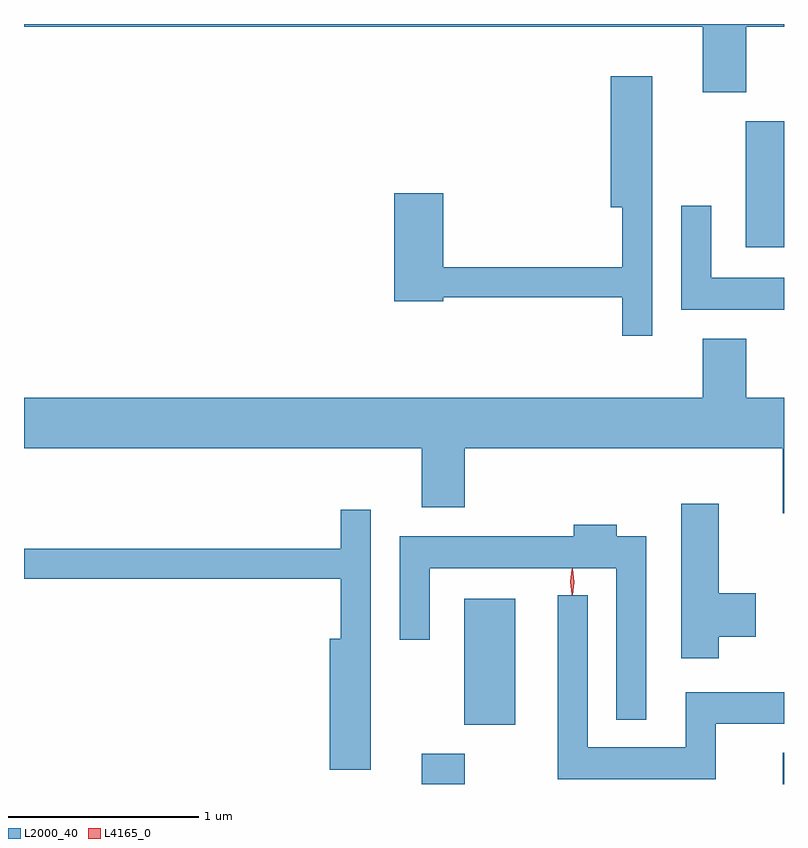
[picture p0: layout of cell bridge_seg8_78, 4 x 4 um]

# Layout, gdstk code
import gdstk
lib = gdstk.Library(unit=1e-6, precision=1e-09)
def R(c, l, rs):  # rectangles x0, y0, x1, y1
    for r in rs: c.add(gdstk.rectangle(r[:2], r[2:], *l))
def P(c, l, *ps):  # polygons
    for p in ps: c.add(gdstk.Polygon(p, *l))
L2000_40 = (2000, 40)
L4165_0 = (4165, 0)

bridge_seg8_78 = lib.new_cell('bridge_seg8_78')
R(bridge_seg8_78, L2000_40, [(1623.631,1812.45,1623.859,1812.609), (1625.531,1812.45,1625.538,1812.614), (1623.856,1812.761,1624.124,1813.424), (1625.336,1815.276,1625.538,1815.939)])
P(bridge_seg8_78, L2000_40, [(1625.339,1816.436),(1625.538,1816.436),(1625.538,1816.45),(1621.538,1816.45),(1621.538,1816.436),(1625.111,1816.436),(1625.111,1816.091),(1625.339,1816.091)],
  [(1624.844,1816.174),(1624.626,1816.174),(1624.626,1815.486),(1624.686,1815.486),(1624.686,1815.169),(1623.744,1815.169),(1623.744,1815.559),(1623.486,1815.559),(1623.486,1814.991),(1623.744,1814.991),(1623.744,1815.011),(1624.686,1815.011),(1624.686,1814.808),(1624.844,1814.808)],
  [(1625.538,1815.114),(1625.154,1815.114),(1625.154,1815.493),(1624.996,1815.493),(1624.996,1814.946),(1625.538,1814.946)],
  [(1625.538,1814.484),(1625.339,1814.484),(1625.339,1814.794),(1625.111,1814.794),(1625.111,1814.484),(1621.538,1814.484),(1621.538,1814.216),(1623.631,1814.216),(1623.631,1813.906),(1623.859,1813.906),(1623.859,1814.216),(1625.531,1814.216),(1625.531,1813.876),(1625.538,1813.876)],
  [(1625.194,1813.226),(1625.389,1813.226),(1625.389,1813.454),(1625.194,1813.454),(1625.194,1813.924),(1624.996,1813.924),(1624.996,1813.111),(1625.194,1813.111)],
  [(1623.364,1813.893),(1623.206,1813.893),(1623.206,1813.689),(1621.538,1813.689),(1621.538,1813.531),(1623.206,1813.531),(1623.206,1813.214),(1623.146,1813.214),(1623.146,1812.526),(1623.364,1812.526)],
  [(1624.814,1813.754),(1624.659,1813.754),(1624.659,1813.814),(1624.431,1813.814),(1624.431,1813.754),(1623.516,1813.754),(1623.516,1813.208),(1623.674,1813.208),(1623.674,1813.586),(1624.656,1813.586),(1624.656,1812.788),(1624.814,1812.788)],
  [(1625.179,1812.766),(1625.538,1812.766),(1625.538,1812.934),(1625.021,1812.934),(1625.021,1812.644),(1624.504,1812.644),(1624.504,1813.443),(1624.346,1813.443),(1624.346,1812.476),(1625.179,1812.476)])
P(bridge_seg8_78, L4165_0, [(1624.422,1813.447),(1624.422,1813.447),(1624.412,1813.514),(1624.422,1813.58),(1624.422,1813.58),(1624.423,1813.58),(1624.432,1813.514),(1624.423,1813.447)],
  [(1624.425,1813.443),(1624.424,1813.444),(1624.415,1813.513),(1624.424,1813.582),(1624.425,1813.583),(1624.425,1813.582),(1624.435,1813.513),(1624.425,1813.444)])

lib.write_gds('bridge_seg8_78.gds')
